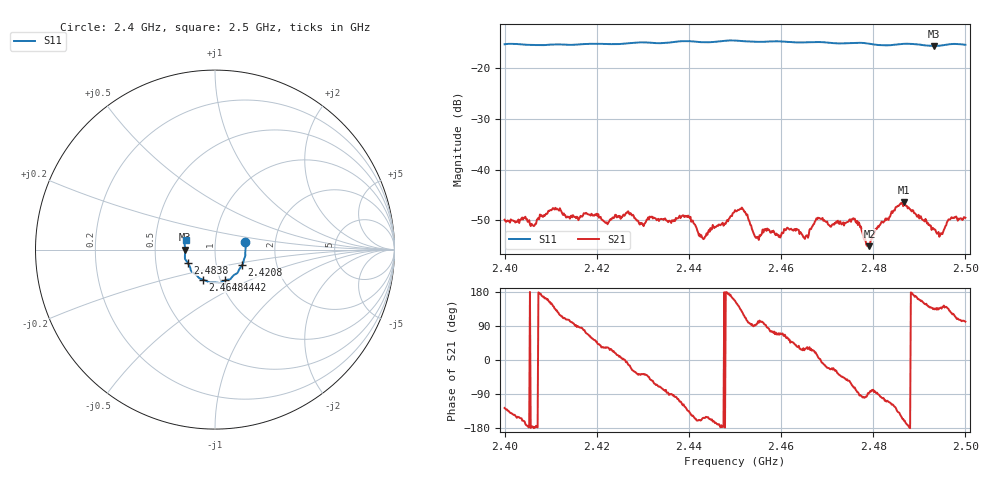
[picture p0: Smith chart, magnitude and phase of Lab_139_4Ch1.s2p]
# Hz S RI R 50
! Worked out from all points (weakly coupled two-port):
!   601 points, 2.4 GHz to 2.5 GHz, reference 50 ohm
!   highest |S21| = -46.41 dB at 2.4867 GHz (marker M1); lowest = -55.1 dB at 2.4792 GHz (marker M2)
!   lowest |S11| = -15.6 dB at 2.4932 GHz (marker M3), VSWR 1.40, Z = 35.8 - j0.0867 ohm
!   |S11| at or under -10 dB: start of sweep to end of sweep
!   S12 and S22 are empty: the file has one direction only
!   S11 on the Smith chart (normalised r, x): 2.4 GHz: 1.40, +0.12; 2.4208 GHz: 1.33, -0.24; 2.4442 GHz: 1.05, -0.37; 2.4648 GHz: 0.83, -0.29; 2.4838 GHz: 0.73, -0.11; 2.5 GHz: 0.72, +0.08
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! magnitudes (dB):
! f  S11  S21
! 2.4 GHz  -15.3  -49.9
! 2.4062 GHz  -15.4  -51.1
! 2.4108 GHz  -15.3  -47.9
! 2.4167 GHz  -15.2  -49.3
! 2.4208 GHz  -15.2  -49.4
! 2.4333 GHz  -15.0  -49.7
! 2.4398 GHz  -14.6  -49.1
! 2.4427 GHz  -14.8  -53.0
! 2.4442 GHz  -14.9  -52.4
! 2.45 GHz  -14.5  -48.0
! 2.452 GHz  -14.7  -48.3
! 2.4547 GHz  -14.8  -53.5
! 2.4617 GHz  -14.8  -51.7
! 2.4648 GHz  -14.9  -53.4
! 2.4667 GHz  -14.8  -51.4
! 2.4755 GHz  -15.0  -49.8
! 2.4792 GHz  -15.2  -55.1
! 2.4833 GHz  -15.5  -49.9
! 2.4838 GHz  -15.4  -48.8
! 2.4867 GHz  -15.2  -46.4
! 2.4932 GHz  -15.6  -51.8
! 2.5 GHz  -15.4  -49.5
